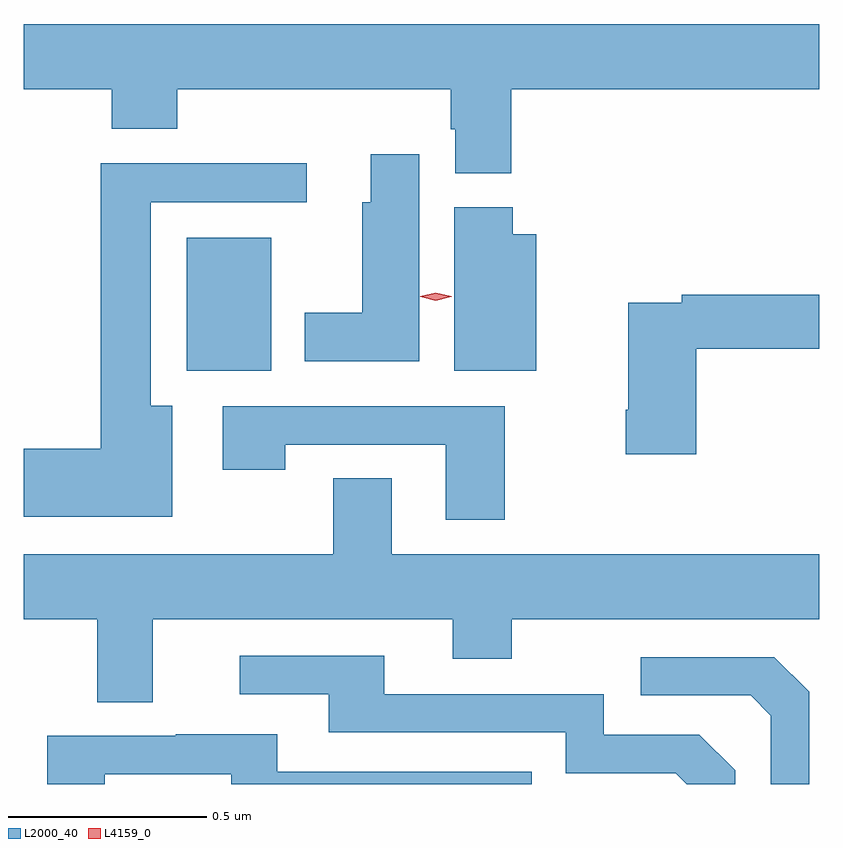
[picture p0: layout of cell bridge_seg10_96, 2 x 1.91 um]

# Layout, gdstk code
import gdstk
lib = gdstk.Library(unit=1e-6, precision=1e-09)
def R(c, l, rs):  # rectangles x0, y0, x1, y1
    for r in rs: c.add(gdstk.rectangle(r[:2], r[2:], *l))
def P(c, l, *ps):  # polygons
    for p in ps: c.add(gdstk.Polygon(p, *l))
L2000_40 = (2000, 40)
L4159_0 = (4159, 0)

bridge_seg10_96 = lib.new_cell('bridge_seg10_96')
R(bridge_seg10_96, L2000_40, [(575.822,1299.608,576.034,1299.943)])
P(bridge_seg10_96, L2000_40, [(576.638,1300.316),(577.412,1300.316),(577.412,1300.48),(575.412,1300.48),(575.412,1300.316),(575.633,1300.316),(575.633,1300.217),(575.798,1300.217),(575.798,1300.316),(576.485,1300.316),(576.485,1300.215),(576.497,1300.215),(576.497,1300.105),(576.638,1300.105)],
  [(576.406,1300.153),(576.284,1300.153),(576.284,1300.032),(576.263,1300.032),(576.263,1299.754),(576.119,1299.754),(576.119,1299.632),(576.406,1299.632)],
  [(575.785,1299.52),(575.731,1299.52),(575.731,1300.032),(576.124,1300.032),(576.124,1300.13),(575.606,1300.13),(575.606,1299.413),(575.412,1299.413),(575.412,1299.242),(575.785,1299.242)],
  [(576.7,1299.952),(576.641,1299.952),(576.641,1300.02),(576.494,1300.02),(576.494,1299.608),(576.7,1299.608)],
  [(577.103,1299.664),(577.412,1299.664),(577.412,1299.8),(577.066,1299.8),(577.066,1299.78),(576.932,1299.78),(576.932,1299.511),(576.925,1299.511),(576.925,1299.399),(577.103,1299.399)],
  [(576.621,1299.519),(575.913,1299.519),(575.913,1299.36),(576.069,1299.36),(576.069,1299.423),(576.473,1299.423),(576.473,1299.234),(576.621,1299.234)],
  [(575.737,1298.984),(576.491,1298.984),(576.491,1298.885),(576.639,1298.885),(576.639,1298.984),(577.412,1298.984),(577.412,1299.148),(576.337,1299.148),(576.337,1299.338),(576.19,1299.338),(576.19,1299.148),(575.412,1299.148),(575.412,1298.984),(575.597,1298.984),(575.597,1298.776),(575.737,1298.776)],
  [(577.2,1298.604),(577.11,1298.694),(576.87,1298.694),(576.87,1298.796),(576.319,1298.796),(576.319,1298.892),(575.955,1298.892),(575.955,1298.796),(576.179,1298.796),(576.179,1298.7),(576.774,1298.7),(576.774,1298.597),(577.051,1298.597),(577.078,1298.57),(577.2,1298.57)],
  [(577.386,1298.802),(577.299,1298.889),(576.963,1298.889),(576.963,1298.793),(577.239,1298.793),(577.29,1298.742),(577.29,1298.57),(577.386,1298.57)],
  [(575.616,1298.595),(575.934,1298.595),(575.934,1298.57),(576.689,1298.57),(576.689,1298.601),(576.049,1298.601),(576.049,1298.695),(575.795,1298.695),(575.795,1298.691),(575.471,1298.691),(575.471,1298.57),(575.616,1298.57)])
P(bridge_seg10_96, L4159_0, [(576.448,1299.785),(576.409,1299.795),(576.409,1299.795),(576.409,1299.796),(576.448,1299.805),(576.487,1299.796),(576.488,1299.795),(576.487,1299.795)])

lib.write_gds('bridge_seg10_96.gds')
